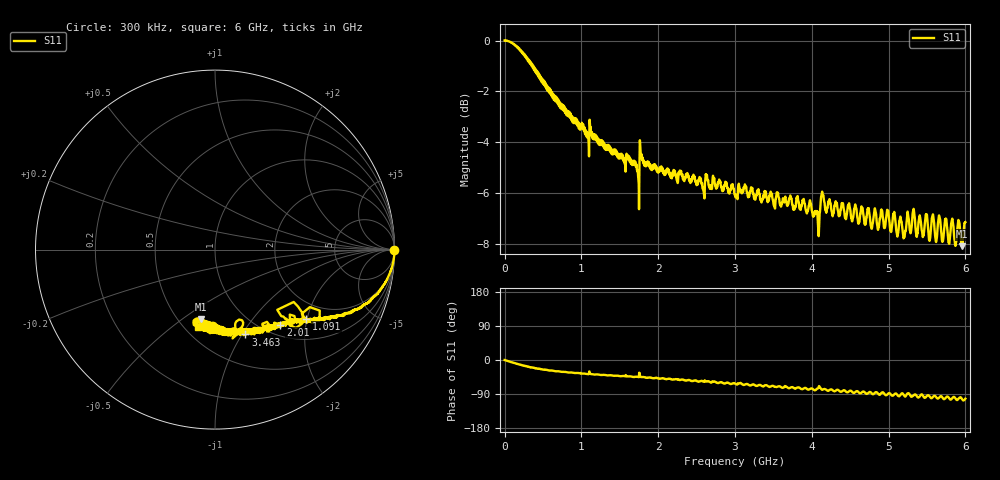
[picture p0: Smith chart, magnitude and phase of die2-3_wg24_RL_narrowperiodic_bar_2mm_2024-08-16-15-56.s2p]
!Keysight Technologies,P9374A,MY57304198,A.17.20.09
!Date: Friday, August 16, 2024 15:56:46
!Correction: S11(C  1-Port  )
!S21(C  1-Port  )
!S12(Off)
!S22(Off)
!S2P File: Measurements: S11, S21, S12, S22:
# Hz S  dB  R 50
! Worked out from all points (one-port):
!   6000 points, 300 kHz to 6 GHz, reference 50 ohm
!   lowest |S11| = -8.1 dB at 5.952 GHz (marker M1), VSWR 2.30, Z = 32.1 - j29.3 ohm
!   |S11| at or under -10 dB: nowhere
!   S11 on the Smith chart (normalised r, x): 300 kHz: open; 1.091 GHz: 1.51, -1.97; 2.01 GHz: 1.19, -1.45; 3.463 GHz: 0.82, -1.04; 6 GHz: 0.59, -0.62
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300000  -0.00 -0.0  -200.00 45.0  -200.00 45.0  -200.00 45.0
2.423282e8  -0.48 -14.2  -200.00 45.0  -200.00 45.0  -200.00 45.0
4.053473e8  -1.13 -21.5  -200.00 45.0  -200.00 45.0  -200.00 45.0
6.493757e8  -2.16 -28.8  -200.00 45.0  -200.00 45.0  -200.00 45.0
1.000417e9  -3.40 -35.7  -200.00 45.0  -200.00 45.0  -200.00 45.0
1.091427e9  -3.92 -37.3  -200.00 45.0  -200.00 45.0  -200.00 45.0
1.678496e9  -4.89 -44.6  -200.00 45.0  -200.00 45.0  -200.00 45.0
1.730502e9  -5.14 -44.4  -200.00 45.0  -200.00 45.0  -200.00 45.0
1.791509e9  -4.71 -44.8  -200.00 45.0  -200.00 45.0  -200.00 45.0
2.000533e9  -5.20 -48.2  -200.00 45.0  -200.00 45.0  -200.00 45.0
2.009534e9  -5.10 -49.0  -200.00 45.0  -200.00 45.0  -200.00 45.0
3.00065e9  -6.05 -62.3  -200.00 45.0  -200.00 45.0  -200.00 45.0
3.462704e9  -5.98 -70.3  -200.00 45.0  -200.00 45.0  -200.00 45.0
4.000767e9  -6.70 -74.9  -200.00 45.0  -200.00 45.0  -200.00 45.0
4.047772e9  -6.74 -79.4  -200.00 45.0  -200.00 45.0  -200.00 45.0
4.096778e9  -7.15 -69.0  -200.00 45.0  -200.00 45.0  -200.00 45.0
4.142783e9  -6.07 -78.1  -200.00 45.0  -200.00 45.0  -200.00 45.0
4.54483e9  -6.82 -86.8  -200.00 45.0  -200.00 45.0  -200.00 45.0
5.000883e9  -6.87 -87.7  -200.00 45.0  -200.00 45.0  -200.00 45.0
5.200907e9  -7.73 -93.6  -200.00 45.0  -200.00 45.0  -200.00 45.0
5.951994e9  -8.09 -101.7  -200.00 45.0  -200.00 45.0  -200.00 45.0
6e9  -7.15 -102.0  -200.00 45.0  -200.00 45.0  -200.00 45.0
